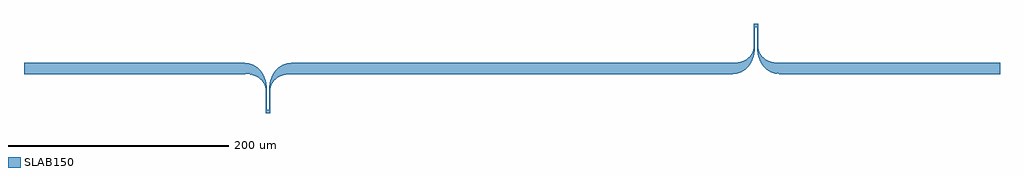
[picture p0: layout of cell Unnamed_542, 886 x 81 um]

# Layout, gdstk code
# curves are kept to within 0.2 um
from math import pi, radians
import gdstk
lib = gdstk.Library(unit=1e-6, precision=1e-09)
def R(c, l, rs):  # rectangles x0, y0, x1, y1
    for r in rs: c.add(gdstk.rectangle(r[:2], r[2:], *l))
def P(c, l, *ps):  # polygons
    for p in ps: c.add(gdstk.Polygon(p, *l))
SLAB150 = (2, 0)

rectangle_s2_2_l2_0_cfa_ = lib.new_cell('rectangle_S2_2_L2_0_CFa_c4eaf9ad')
R(rectangle_s2_2_l2_0_cfa_, SLAB150, [(0,0,2,2)])

unnamed_547 = lib.new_cell('Unnamed_547')
P(unnamed_547, SLAB150, [(0,-0.5),(0,0.5),(19.5,0.5),(19.5,1.5),(20.5,1.5),(20.5,-0.5)])

unnamed_546 = lib.new_cell('Unnamed_546')
P(unnamed_546, SLAB150, [(19.5,-20),(19.117,-16.823),(18.006,-13.845),(16.277,-11.233),(13.904,-8.953),(11.014,-7.17),(7.794,-5.958),(4.22,-5.251),(0,-5),(0,5),(4.386,4.47),(8.494,2.935),(12.095,0.546),(15.224,-2.714),(17.794,-6.933),(19.548,-11.903),(20.259,-15.837),(20.5,-20)])

unnamed_545 = lib.new_cell('Unnamed_545')
R(unnamed_545, SLAB150, [(0,-5,200,5)])

unnamed_543 = lib.new_cell('Unnamed_543')
unnamed_543.add(gdstk.Reference(unnamed_547, (220,-20), rotation=3*pi/2))
unnamed_543.add(gdstk.Reference(unnamed_546, (200,0)))
unnamed_543.add(gdstk.Reference(unnamed_545, (0,0)))

unnamed_544 = lib.new_cell('Unnamed_544')
unnamed_544.add(gdstk.Reference(rectangle_s2_2_l2_0_cfa_, (663.5,37.5)))
unnamed_544.add(gdstk.Reference(unnamed_543, (443,0), rotation=pi, x_reflection=True))
unnamed_544.add(gdstk.Reference(unnamed_543, (0,0)))

unnamed_542 = lib.new_cell('Unnamed_542')
unnamed_542.add(gdstk.Reference(unnamed_544, (886,0), rotation=pi))
unnamed_542.add(gdstk.Reference(unnamed_544, (0,0)))

lib.write_gds('Unnamed_542.gds')
